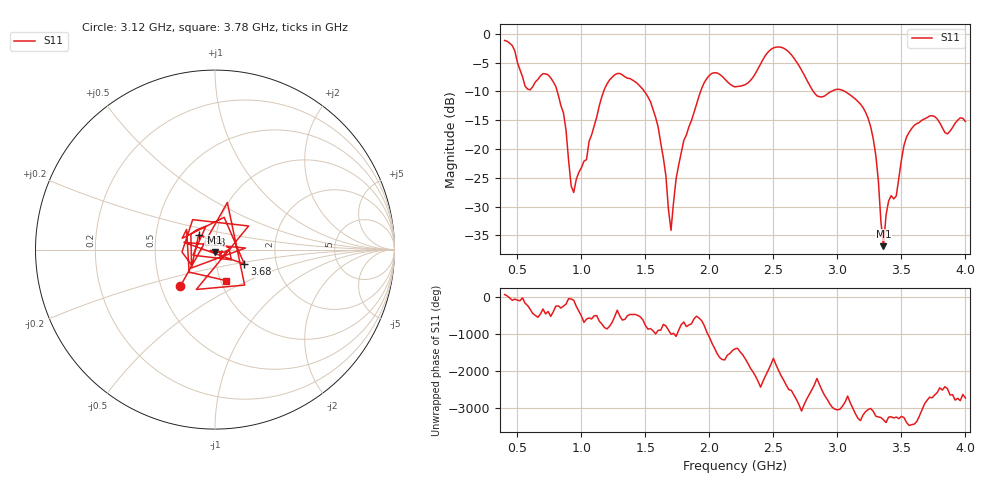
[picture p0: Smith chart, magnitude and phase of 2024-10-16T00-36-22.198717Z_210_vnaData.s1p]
! Created with skrf (http://scikit-rf.org).
# Hz S RI R 50.0
!freq ReS11 ImS11
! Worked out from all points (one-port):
!   181 points, 400 MHz to 4 GHz, reference 50 ohm
!   lowest |S11| = -36.9 dB at 3.36 GHz (marker M1), VSWR 1.03, Z = 49.9 - j1.42 ohm
!   |S11| at or under -10 dB: 810.9 MHz to 1.174 GHz (363.1 MHz wide, 36.6 % of centre); 1.492 GHz to 1.932 GHz (439.9 MHz wide, 25.7 % of centre); 3.057 GHz to end of sweep (the widest 3 of 4)
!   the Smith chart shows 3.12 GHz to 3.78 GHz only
!   S11 on the Smith chart (normalised r, x): 3.12 GHz: 0.63, -0.28; 3.28 GHz: 0.82, +0.14; 3.68 GHz: 1.37, -0.23; 3.78 GHz: 1.06, -0.38
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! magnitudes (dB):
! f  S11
! 400 MHz  -1.2
! 560 MHz  -9.1
! 740 MHz  -7.1
! 860 MHz  -13.8
! 920 MHz  -26.4
! 940 MHz  -27.6
! 1.18 GHz  -9.6
! 1.3 GHz  -6.9
! 1.56 GHz  -13.1
! 1.64 GHz  -21.5
! 1.7 GHz  -34.1
! 1.76 GHz  -22.8
! 1.98 GHz  -7.8
! 2.2 GHz  -9.2
! 2.5 GHz  -2.5
! 2.66 GHz  -4.2
! 2.84 GHz  -10.8
! 3.1 GHz  -10.6
! 3.12 GHz  -11.0
! 3.28 GHz  -18.2
! 3.36 GHz  -36.9
! 3.4 GHz  -29.0
! 3.46 GHz  -28.2
! 3.56 GHz  -17.1
! 3.68 GHz  -14.8
! 3.78 GHz  -14.8
! 3.86 GHz  -17.4
! 4 GHz  -15.2
